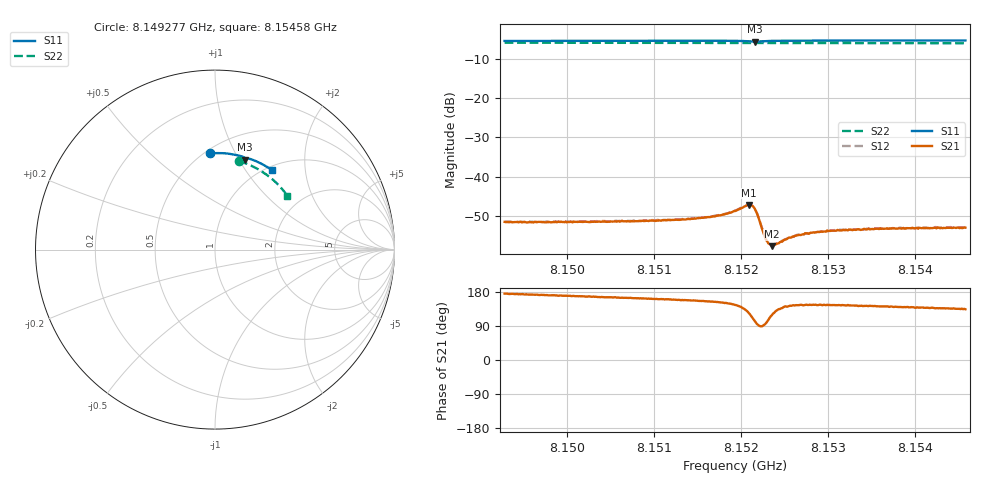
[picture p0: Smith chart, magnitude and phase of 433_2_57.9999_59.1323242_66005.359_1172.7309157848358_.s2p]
#  HZ  S  RI  R  50.00
! Rohde & Schwarz Vector Network Analyzer
! Rohde-Schwarz,ZNB20-2Port,1311601062101988,3.16
! Created: UTC 3/21/2024, 1:09:44 AM
! freq[Hz]  re:S11  im:S11  re:S21  im:S21  re:S12  im:S12  re:S22  im:S22
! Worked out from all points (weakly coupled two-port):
!   401 points, 8.149277 GHz to 8.15458 GHz, reference 50 ohm
!   highest |S21| = -47.22 dB at 8.152088 GHz (marker M1); lowest = -57.7 dB at 8.152353 GHz (marker M2)
!   lowest |S11| = -5.6 dB at 8.152154 GHz (marker M3), VSWR 3.23, Z = 38.3 + j53 ohm
!   |S11| at or under -10 dB: nowhere
!   |S22| runs from -6.0 to -5.8 dB; largest |S21 - S12| = 0.00011
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8.1492769e9  -0.0253 0.5366  -0.00264 0.000218  -0.00261 0.000275  0.1338 0.4926
8.1501653e9  0.0365 0.5376  -0.00259 0.000541  -0.00263 0.000587  0.1878 0.4735
8.1510536e9  0.0983 0.5311  -0.00261 0.000929  -0.00262 0.000941  0.2389 0.4485
8.1513453e9  0.1185 0.5274  -0.00264 0.00105  -0.00264 0.00114  0.2551 0.439
8.1515972e9  0.1362 0.5234  -0.00274 0.00129  -0.00272 0.00132  0.2685 0.4304
8.1517828e9  0.1497 0.5192  -0.00287 0.00155  -0.00286 0.00162  0.2785 0.4237
8.1519287e9  0.1608 0.5146  -0.00299 0.00207  -0.00303 0.00213  0.2859 0.4182
8.1520878e9  0.17 0.504  -0.00243 0.00361  -0.00238 0.00369  0.2939 0.412
8.1521276e9  0.1691 0.5009  -0.00158 0.00392  -0.00154 0.00399  0.2958 0.4105
8.1521541e9  0.1675 0.5002  -0.000897 0.00383  -0.000853 0.00387  0.297 0.4095
8.1521939e9  0.1658 0.5019  -0.000144 0.00312  -8.22e-05 0.00313  0.299 0.4081
8.1522602e9  0.1686 0.5065  -7.52e-05 0.00185  -4.98e-05 0.0019  0.3022 0.4058
8.1522867e9  0.1709 0.5077  -0.000203 0.00155  -0.000168 0.00155  0.3036 0.4048
8.1523132e9  0.1732 0.5081  -0.000389 0.00135  -0.000369 0.00138  0.3051 0.4038
8.152353e9  0.1768 0.5085  -0.000615 0.00114  -0.000649 0.0012  0.3069 0.4023
8.152406e9  0.1814 0.5082  -0.000896 0.00106  -0.000895 0.00108  0.3096 0.4001
8.1525253e9  0.191 0.5062  -0.00123 0.00102  -0.00126 0.00102  0.3156 0.3953
8.1526447e9  0.1996 0.5038  -0.00145 0.00104  -0.00149 0.00104  0.3214 0.3904
8.152817e9  0.2114 0.4995  -0.00159 0.00109  -0.0016 0.00112  0.3296 0.3831
8.1530822e9  0.2289 0.4924  -0.00167 0.00118  -0.00169 0.00122  0.3418 0.3715
8.1537054e9  0.2682 0.4733  -0.00167 0.0014  -0.00167 0.00138  0.369 0.3432
8.1545804e9  0.3198 0.4417  -0.00155 0.00161  -0.0016 0.00162  0.4029 0.3001
